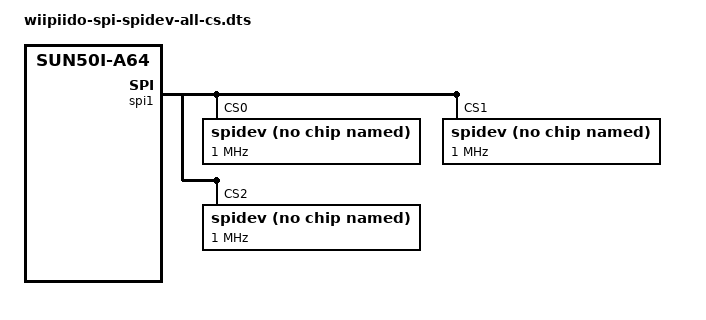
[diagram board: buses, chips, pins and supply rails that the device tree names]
/dts-v1/;
/plugin/;

/ {
	compatible = "allwinner,sun50i-a64";

	fragment@0 {
		target-path = "/aliases";

		__overlay__ {
			//spi0 = "/soc/spi@1c68000";
			spi1 = "/soc/spi@1c69000";
		};
	};

	//SPI 1
	fragment@2 {
		target = <&spi1>;

		__overlay__ {
			#address-cells = <0x1>;
			#size-cells = <0x0>;
			
			pinctrl-names = "default", "default", "default";
			pinctrl-0 = <&spi1_pins>;
			pinctrl-1 = <&spi1_cs1>;
			pinctrl-2 = <&spi1_cs2>;

			status = "okay";
			num-cs = <0x3>;
			
			cs-gpios = <0>, <0x1c 0x2 0x7 0x0>, <0x1c 0x3 0x6 0x0>;
		
			spidev@0 {
				compatible = "spidev";
				reg = <0x0>;
				spi-max-frequency = <0xf4240>;
			};
		
			spidev@1 {
				compatible = "spidev";
				reg = <0x1>;
				spi-max-frequency = <0xf4240>;
			};

			spidev@2 {
				compatible = "spidev";
				reg = <0x2>;
				spi-max-frequency = <0xf4240>;
			};
		};
	};
	
	//SPI 1 CS
	fragment@4 {
		target = <&pio>;
		
		__overlay__ {
			spi1_cs1 {
				pins = "PC7";
				function = "gpio_out";
				pull = <0x00>;
				drive = <0x00>;
			};

			spi1_cs2 {
				pins = "PD6";
				function = "gpio_out";
				pull = <0x00>;
				drive = <0x00>;
			};
		};
	};

	__symbols__ {
		spi1_cs1 = "/fragment@4/__overlay__/spi1_cs1";
		spi1_cs2 = "/fragment@4/__overlay__/spi1_cs2";
	};
	
//	__fixups__ {
//		//spi0 = "/fragment@1:target:0";
//		spi1 = "/fragment@2:target:0";
//		//pio = "/fragment@4:target:0", "/fragment@3:target:0", "/fragment@2/__overlay__:cs-gpios:4";
//		pio = "/fragment@4:target:0", "/fragment@2/__overlay__:cs-gpios:4";
//	};

//	__local_fixups__ {
//
//		//fragment@1 {
//		//	__overlay__ {
//		//		pinctrl-1 = <0x0>;
//		//	};
//		//};
//
//		fragment@2 {
//			__overlay__ {
//				pinctrl-1 = <0x0>;
//				pinctrl-2 = <0x0>;
//			};
//		};
//	};
};
